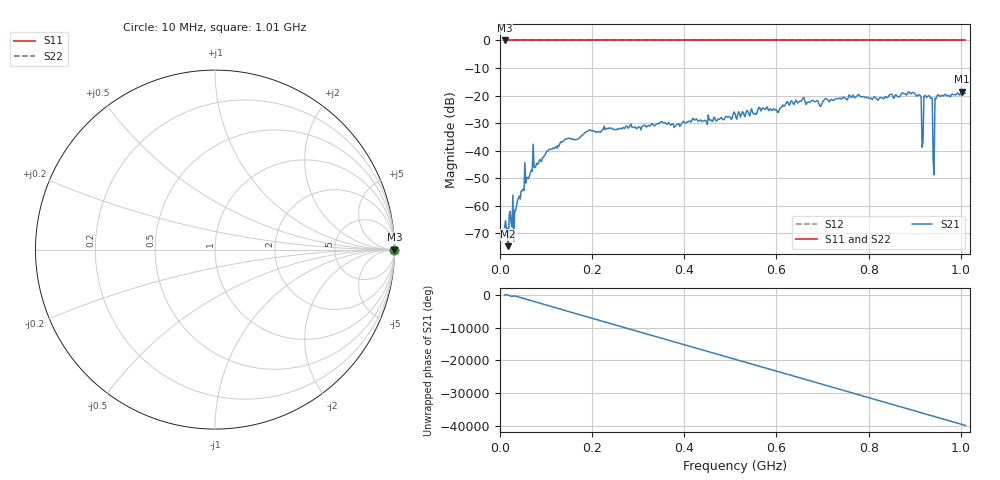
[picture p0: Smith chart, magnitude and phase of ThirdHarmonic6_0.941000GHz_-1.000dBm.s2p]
! 8/16/2025 6:37:19 AM
! C:\ANRITSUVNA\TEMP\TEMP.S2P
! CHANNEL.1
! TR.MEASUREMENT
! RAW.DATA
! RF.CORRECTION.OFF
! AVERAGING.OFF
! IF.BANDWIDTH: 5KHZ
! SWEEPTYPE:  FREQ.SWEEP(Linear)
! Reference Plane Port Info
! PORT:  PORT1  PORT2
! DISTANCE:  0  m  0  m
! TIME:  0  s  0  s
! PHASE.OFFSET:  0  deg.  0  deg.
! LOSS:  0  dB  0  dB
! REF.LOSS:  0  dB  0  dB
! REF.FREQ:  0  Hz  0  Hz
! Power Info
! POWER:  -20  dBm  -20  dBm
! EFF.POWER:  -20  dBm  -20  dBm
! SOURCE.ATTEN:  0  dB  0  dB
! TEST.ATTEN:  0  dB  0  dB
# GHZ S RI R 50.0
! FREQ.GHZ  S11RE  S11IM  S21RE  S21IM  S12RE  S12IM  S22RE  S22IM
!; PortSelection: Port_12
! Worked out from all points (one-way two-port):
!   501 points, 10 MHz to 1.01 GHz, reference 50 ohm
!   highest |S21| = -18.63 dB at 1.002 GHz (marker M1); lowest = -74.6 dB at 18 MHz (marker M2)
!   lowest |S11| = 0.0 dB at 10 MHz (marker M3)
!   |S11| at or under -10 dB: nowhere
!   |S22| runs from 0.0 to 0.0 dB; largest |S21 - S12| = 1.1
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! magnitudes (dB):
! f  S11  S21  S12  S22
! 10 MHz  0.0  -67.9  0.0  0.0
! 18 MHz  0.0  -74.6  0.0  0.0
! 34 MHz  0.0  -61.7  0.0  0.0
! 50 MHz  0.0  -53.9  0.0  0.0
! 76 MHz  0.0  -46.1  0.0  0.0
! 178 MHz  0.0  -34.4  0.0  0.0
! 344 MHz  0.0  -30.3  0.0  0.0
! 510 MHz  0.0  -26.5  0.0  0.0
! 678 MHz  0.0  -21.7  0.0  0.0
! 844 MHz  0.0  -20.0  0.0  0.0
! 910 MHz  0.0  -19.8  0.0  0.0
! 914 MHz  0.0  -20.7  0.0  0.0
! 916 MHz  0.0  -38.7  0.0  0.0
! 920 MHz  0.0  -20.4  0.0  0.0
! 924 MHz  0.0  -20.3  0.0  0.0
! 934 MHz  0.0  -20.9  0.0  0.0
! 938 MHz  0.0  -20.9  0.0  0.0
! 942 MHz  0.0  -48.8  0.0  0.0
! 944 MHz  0.0  -21.0  0.0  0.0
! 948 MHz  0.0  -20.3  0.0  0.0
! 1.002 GHz  0.0  -18.6  0.0  0.0
! 1.01 GHz  0.0  -19.2  0.0  0.0
